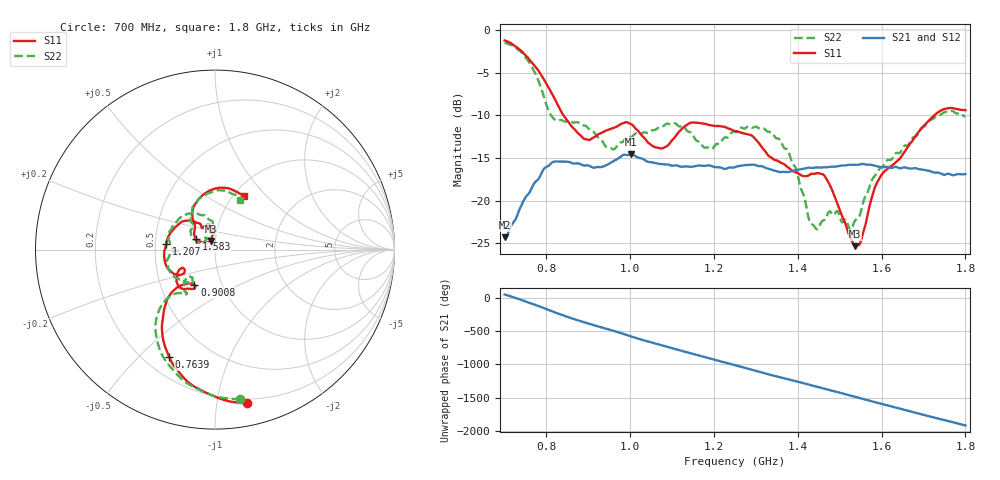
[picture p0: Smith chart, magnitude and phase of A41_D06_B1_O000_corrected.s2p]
! Created with skrf 1.9.0 (http://scikit-rf.org).
# Hz S RI R 50.0
!freq ReS11 ImS11 ReS21 ImS21 ReS12 ImS12 ReS22 ImS22
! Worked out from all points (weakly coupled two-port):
!   1601 points, 700 MHz to 1.8 GHz, reference 50 ohm
!   highest |S21| = -14.56 dB at 1.002 GHz (marker M1); lowest = -24.3 dB at 700 MHz (marker M2)
!   lowest |S11| = -25.4 dB at 1.537 GHz (marker M3), VSWR 1.11, Z = 47.5 + j4.64 ohm
!   |S11| at or under -10 dB: 840.6 MHz to 1.726 GHz (885.1 MHz wide, 69 % of centre)
!   |S22| runs from -23.5 to -1.5 dB; largest |S21 - S12| = 0.0035
!   S11 on the Smith chart (normalised r, x): 700 MHz: 0.17, -1.21; 763.9 MHz: 0.30, -0.62; 900.8 MHz: 0.74, -0.31; 1.207 GHz: 0.57, +0.04; 1.583 GHz: 0.81, +0.09; 1.8 GHz: 1.12, +0.75
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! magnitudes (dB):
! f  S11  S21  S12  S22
! 700 MHz  -1.2  -24.3  -24.1  -1.5
! 763.9 MHz  -3.7  -18.6  -18.7  -4.2
! 814.8 MHz  -7.6  -15.5  -15.6  -10.2
! 883.6 MHz  -12.5  -15.8  -15.7  -11.1
! 900.8 MHz  -12.9  -15.9  -15.9  -11.6
! 957.1 MHz  -11.5  -15.5  -15.5  -13.9
! 1.002 GHz  -11.0  -14.6  -14.7  -12.5
! 1.067 GHz  -13.8  -15.7  -15.6  -11.4
! 1.143 GHz  -10.9  -16.0  -16.0  -12.0
! 1.207 GHz  -11.2  -16.1  -16.1  -13.4
! 1.25 GHz  -11.8  -16.1  -16.0  -11.9
! 1.301 GHz  -12.9  -15.9  -15.8  -11.3
! 1.357 GHz  -15.5  -16.6  -16.6  -12.8
! 1.395 GHz  -16.7  -16.5  -16.4  -16.2
! 1.434 GHz  -16.9  -16.2  -16.1  -22.8
! 1.469 GHz  -17.5  -16.1  -16.1  -21.9
! 1.537 GHz  -25.4  -15.8  -15.8  -22.3
! 1.551 GHz  -24.6  -15.7  -15.7  -21.2
! 1.583 GHz  -18.5  -15.9  -15.9  -17.1
! 1.617 GHz  -16.2  -16.1  -16.1  -15.2
! 1.732 GHz  -9.7  -16.7  -16.7  -10.1
! 1.8 GHz  -9.4  -16.9  -16.9  -10.1
